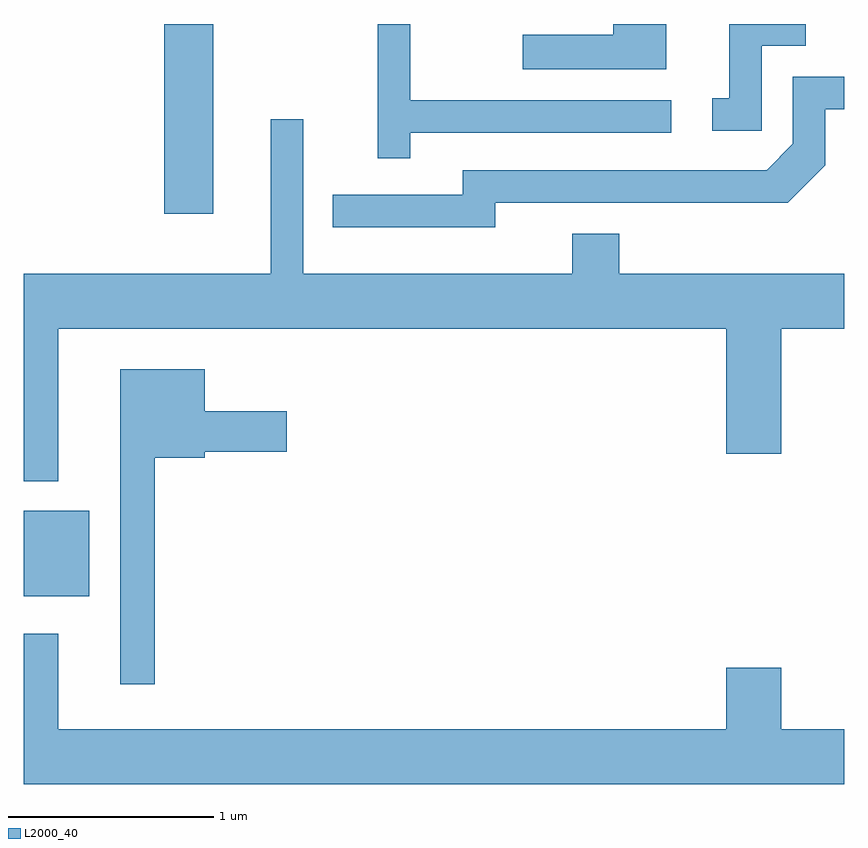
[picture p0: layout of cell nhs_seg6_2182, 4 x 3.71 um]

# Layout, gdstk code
import gdstk
lib = gdstk.Library(unit=1e-6, precision=1e-09)
def R(c, l, rs):  # rectangles x0, y0, x1, y1
    for r in rs: c.add(gdstk.rectangle(r[:2], r[2:], *l))
def P(c, l, *ps):  # polygons
    for p in ps: c.add(gdstk.Polygon(p, *l))
L2000_40 = (2000, 40)

nhs_seg6_2182 = lib.new_cell('nhs_seg6_2182')
R(nhs_seg6_2182, L2000_40, [(251.611,1575.371,251.929,1575.789), (252.296,1577.236,252.534,1578.162)])
P(nhs_seg6_2182, L2000_40, [(253.494,1577.631),(254.768,1577.631),(254.768,1577.789),(253.494,1577.789),(253.494,1578.162),(253.336,1578.162),(253.336,1577.508),(253.494,1577.508)],
  [(254.744,1578.162),(254.486,1578.162),(254.486,1578.109),(254.043,1578.109),(254.043,1577.941),(254.744,1577.941)],
  [(255.209,1578.056),(255.424,1578.056),(255.424,1578.162),(255.051,1578.162),(255.051,1577.799),(254.968,1577.799),(254.968,1577.641),(255.209,1577.641)],
  [(253.909,1577.291),(255.337,1577.291),(255.519,1577.474),(255.519,1577.746),(255.611,1577.746),(255.611,1577.904),(255.361,1577.904),(255.361,1577.577),(255.234,1577.449),(253.751,1577.449),(253.751,1577.329),(253.118,1577.329),(253.118,1577.171),(253.909,1577.171)],
  [(251.779,1576.676),(255.036,1576.676),(255.036,1576.066),(255.304,1576.066),(255.304,1576.676),(255.611,1576.676),(255.611,1576.944),(254.514,1576.944),(254.514,1577.139),(254.286,1577.139),(254.286,1576.944),(252.974,1576.944),(252.974,1577.698),(252.816,1577.698),(252.816,1576.944),(251.611,1576.944),(251.611,1575.933),(251.779,1575.933)],
  [(252.249,1576.046),(252.494,1576.046),(252.494,1576.076),(252.894,1576.076),(252.894,1576.274),(252.494,1576.274),(252.494,1576.479),(252.081,1576.479),(252.081,1574.943),(252.249,1574.943)],
  [(255.611,1574.724),(255.304,1574.724),(255.304,1575.024),(255.036,1575.024),(255.036,1574.724),(251.779,1574.724),(251.779,1575.188),(251.611,1575.188),(251.611,1574.456),(255.611,1574.456)])

lib.write_gds('nhs_seg6_2182.gds')
